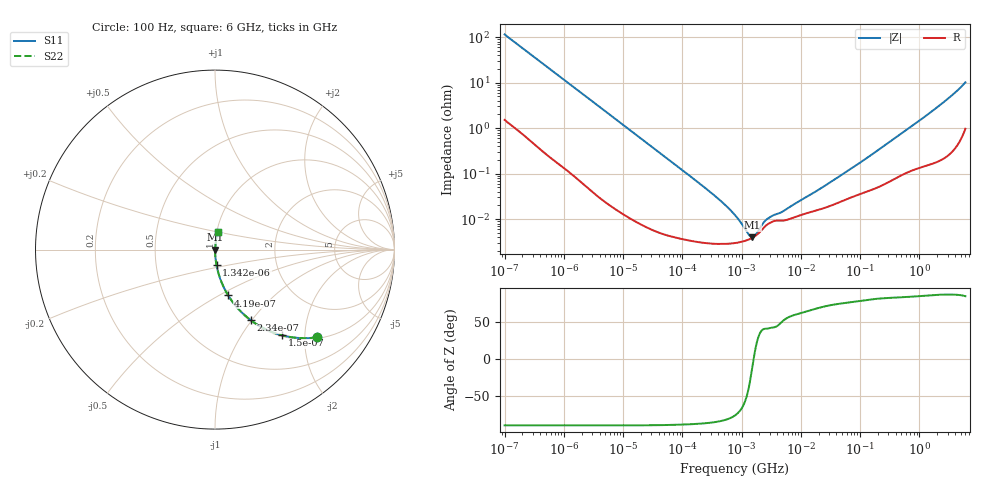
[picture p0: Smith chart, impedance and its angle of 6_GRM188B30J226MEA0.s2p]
!Murata Part Number: GRM188B30J226MEA0
!These Parameters are Measured in Series Mode Connection
!  o--ll--o
!Port1  Port2
!  o------o
!Operation Temp=25[C], DC Bias Voltage=0[V]
!Freq. Start=100[Hz] Stop=6000000000[Hz] 401[Steps]
# Hz S RI R 50
!Freq.(Hz) S11(Real) S11(Imag) S21(Real) S21(Imag) S12(Real) S12(Imag) S22(Real) S22(Imag)
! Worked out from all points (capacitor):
!   401 points, 100 Hz to 6 GHz, reference 50 ohm
!   read as one part in series: C = 13.8 uF near 109 Hz
!   lowest |Z| = 3.97 mohm at 1.516 MHz (marker M1)
!   series resonance near 1.598 MHz, so ESL is about 720 pH
!   S11 on the Smith chart (normalised r, x): 100 Hz: 1.03, -2.29; 150 Hz: 1.02, -1.54; 234 Hz: 1.01, -0.99; 419 Hz: 1.01, -0.55; 1.342 kHz: 1.00, -0.17; 6 GHz: 1.02, +0.20
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100  0.567 -0.4889  0.433 0.4889  0.433 0.4889  0.567 -0.4889
150  0.3731 -0.4772  0.6269 0.4772  0.6269 0.4772  0.3731 -0.4772
234  0.1987 -0.3927  0.8013 0.3927  0.8013 0.3927  0.1987 -0.3927
419  0.0737 -0.2556  0.9263 0.2556  0.9263 0.2556  0.0737 -0.2556
717  0.0274 -0.1576  0.9726 0.1576  0.9726 0.1576  0.0274 -0.1576
1342  0.00849 -0.0863  0.9915 0.0863  0.9915 0.0863  0.00849 -0.0863
2008  0.00402 -0.0581  0.996 0.0581  0.996 0.0581  0.00402 -0.0581
6433  0.000523 -0.0183  0.9995 0.0183  0.9995 0.0183  0.000523 -0.0183
40335  5.91e-05 -0.00295  0.9999 0.00295  0.9999 0.00295  5.91e-05 -0.00295
330837  2.89e-05 -0.000349  1 0.000349  1 0.000349  2.89e-05 -0.000349
541393  2.87e-05 -0.000197  1 0.000197  1 0.000197  2.87e-05 -0.000197
774597  2.98e-05 -0.000119  1 0.000119  1 0.000119  2.98e-05 -0.000119
926525  3.1e-05 -8.64e-05  1 8.64e-05  1 8.64e-05  3.1e-05 -8.64e-05
1516199  3.89e-05 -7.8e-06  1 7.8e-06  1 7.8e-06  3.89e-05 -7.8e-06
2713602  7.62e-05 6.61e-05  0.9999 -6.61e-05  0.9999 -6.61e-05  7.62e-05 6.61e-05
4856642  9.25e-05 0.000112  0.9999 -0.000112  0.9999 -0.000112  9.25e-05 0.000112
1.555665e7  0.000146 0.000333  0.9999 -0.000333  0.9999 -0.000333  0.000146 0.000333
8.527865e7  0.000331 0.00148  0.9997 -0.00148  0.9997 -0.00148  0.000331 0.00148
3.124326e8  0.000688 0.00489  0.9993 -0.00489  0.9993 -0.00489  0.000688 0.00489
1.873145e9  0.00246 0.0267  0.9975 -0.0267  0.9975 -0.0267  0.00246 0.0267
3.505958e9  0.00557 0.0513  0.9944 -0.0513  0.9944 -0.0513  0.00557 0.0513
6e9  0.0195 0.0984  0.9805 -0.0984  0.9805 -0.0984  0.0195 0.0984
